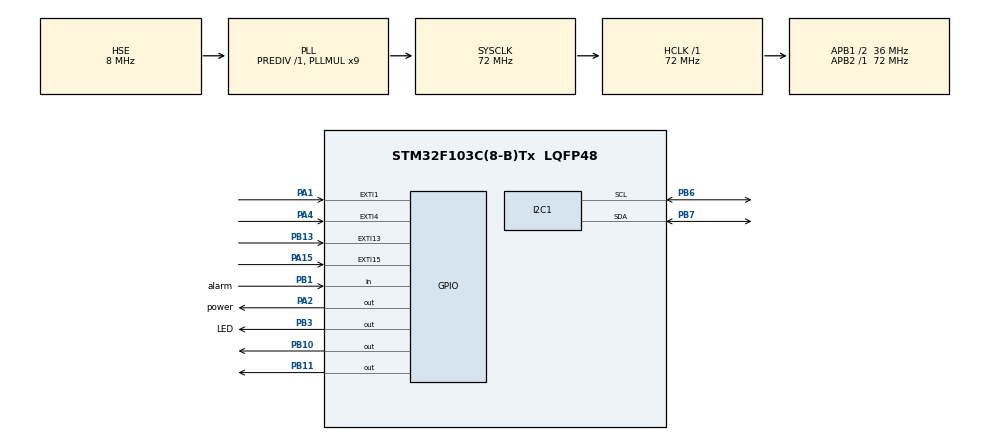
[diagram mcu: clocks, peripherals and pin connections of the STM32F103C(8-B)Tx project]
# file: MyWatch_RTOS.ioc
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FREERTOS.BinarySemaphores01=Key_State,Dynamic,NULL
FREERTOS.INCLUDE_uxTaskGetStackHighWaterMark=0
FREERTOS.Mutexes01=Time_Signal,Dynamic,NULL;Gyro_Signal,Dynamic,NULL;SW_Signal,Dynamic,NULL
FREERTOS.Tasks01=defaultTask,0,128,StartDefaultTask,Default,NULL,Dynamic,NULL,NULL;RTC_Task,1,64,Read_Time,As external,NULL,Dynamic,NULL,NULL;Root_Tas,-1,128,Display_Root,As external,NULL,Dynamic,NULL,NULL;Change_Task,-1,128,Display_ChangeTime,As external,NULL,Dynamic,NULL,NULL;Menu_Task,-1,128,Display_Menu,As external,NULL,Dynamic,NULL,NULL;Cartoon_Task,-1,128,Display_Cartoon,As external,NULL,Dynamic,NULL,NULL;Gyro_Task,0,128,Read_Gyro,As external,NULL,Dynamic,NULL,NULL;AlarmSet_Task_,-1,128,Alarm_Set,As external,NULL,Dynamic,NULL,NULL;AlarmGo_Task,-1,64,Alarm_Go,As external,NULL,Dynamic,NULL,NULL;Timing_Task,-1,128,Timing,As external,NULL,Dynamic,NULL,NULL;Game_Task,-1,128,Game,As external,NULL,Dynamic,NULL,NULL;KEY_Task,1,64,Key_Scan,As external,NULL,Dynamic,NULL,NULL
FREERTOS.configGENERATE_RUN_TIME_STATS=0
FREERTOS.configIDLE_SHOULD_YIELD=0
FREERTOS.configMAX_PRIORITIES=5
FREERTOS.configMAX_TASK_NAME_LEN=16
FREERTOS.configMINIMAL_STACK_SIZE=64
FREERTOS.configTOTAL_HEAP_SIZE=7168
FREERTOS.configUSE_APPLICATION_TASK_TAG=1
FREERTOS.configUSE_MUTEXES=1
FREERTOS.configUSE_TRACE_FACILITY=0
I2C1.I2C_Mode=I2C_Fast
Mcu.Family=STM32F1
Mcu.Name=STM32F103C(8-B)Tx
Mcu.Package=LQFP48
NVIC.EXTI15_10_IRQn=true\:5\:0\:true\:false\:true\:true\:true\:true\:true
NVIC.EXTI1_IRQn=true\:5\:0\:true\:false\:true\:true\:true\:true\:true
NVIC.EXTI4_IRQn=true\:5\:0\:true\:false\:true\:true\:true\:true\:true
NVIC.PriorityGroup=NVIC_PRIORITYGROUP_4
NVIC.TIM1_UP_IRQn=true\:15\:0\:false\:false\:true\:false\:false\:true\:true
NVIC.TIM3_IRQn=true\:5\:0\:false\:false\:true\:true\:true\:true\:true
NVIC.TIM4_IRQn=true\:5\:0\:false\:false\:true\:true\:true\:true\:true
NVIC.TimeBase=TIM1_UP_IRQn
NVIC.TimeBaseIP=TIM1
PA1.GPIO_ModeDefaultEXTI=GPIO_MODE_IT_FALLING
PA1.GPIO_PuPd=GPIO_PULLUP
PA1.Signal=GPXTI1
PA13.Mode=Serial_Wire
PA13.Signal=SYS_JTMS-SWDIO
PA14.Mode=Serial_Wire
PA14.Signal=SYS_JTCK-SWCLK
PA15.GPIO_ModeDefaultEXTI=GPIO_MODE_IT_FALLING
PA15.GPIO_PuPd=GPIO_PULLUP
PA15.Signal=GPXTI15
PA2.GPIO_Label=power
PA2.GPIO_PuPd=GPIO_NOPULL
PA2.PinState=GPIO_PIN_SET
PA2.Signal=GPIO_Output
PA4.GPIO_ModeDefaultEXTI=GPIO_MODE_IT_FALLING
PA4.GPIO_PuPd=GPIO_PULLUP
PA4.Signal=GPXTI4
PB1.GPIO_Label=alarm
PB1.GPIO_PuPd=GPIO_PULLUP
PB1.Signal=GPIO_Input
PB10.GPIO_Speed=GPIO_SPEED_FREQ_HIGH
PB10.Signal=GPIO_Output
PB11.GPIO_Speed=GPIO_SPEED_FREQ_HIGH
PB11.Signal=GPIO_Output
PB13.GPIO_ModeDefaultEXTI=GPIO_MODE_IT_FALLING
PB13.GPIO_PuPd=GPIO_PULLUP
PB13.Signal=GPXTI13
PB3.GPIO_Label=LED
PB3.Signal=GPIO_Output
PB6.Mode=I2C
PB6.Signal=I2C1_SCL
PB7.Mode=I2C
PB7.Signal=I2C1_SDA
PD0-OSC_IN.Mode=HSE-External-Oscillator
PD0-OSC_IN.Signal=RCC_OSC_IN
PD1-OSC_OUT.Mode=HSE-External-Oscillator
PD1-OSC_OUT.Signal=RCC_OSC_OUT
ProjectManager.HeapSize=0x200
ProjectManager.StackSize=0x400
ProjectManager.TargetToolchain=MDK-ARM V5.32
RCC.AHBFreq_Value=72000000
RCC.APB1CLKDivider=RCC_HCLK_DIV2
RCC.APB1Freq_Value=36000000
RCC.APB1TimFreq_Value=72000000
RCC.APB2Freq_Value=72000000
RCC.APB2TimFreq_Value=72000000
RCC.HCLKFreq_Value=72000000
RCC.PLLMUL=RCC_PLL_MUL9
RCC.PLLSourceVirtual=RCC_PLLSOURCE_HSE
RCC.SYSCLKFreq_VALUE=72000000
RCC.SYSCLKSource=RCC_SYSCLKSOURCE_PLLCLK
RCC.USBFreq_Value=72000000
TIM3.AutoReloadPreload=TIM_AUTORELOAD_PRELOAD_ENABLE
TIM3.Period=9999
TIM3.Prescaler=7199
TIM4.AutoReloadPreload=TIM_AUTORELOAD_PRELOAD_ENABLE
TIM4.Period=9999
TIM4.Prescaler=7199
VP_FREERTOS_VS_CMSIS_V1.Mode=CMSIS_V1
VP_SYS_VS_tim1.Mode=TIM1
VP_TIM3_VS_ClockSourceINT.Mode=Internal
VP_TIM4_VS_ClockSourceINT.Mode=Internal
board=custom

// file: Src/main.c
/* USER CODE BEGIN Header */
/**
  ******************************************************************************
  * @file           : main.c
  * @brief          : Main program body
  ******************************************************************************
  * @attention
  *
  * Copyright (c) 2023 STMicroelectronics.
  * All rights reserved.
  *
  * This software is licensed under terms that can be found in the LICENSE file
  * in the root directory of this software component.
  * If no LICENSE file comes with this software, it is provided AS-IS.
  *
  ******************************************************************************
  */
/* USER CODE END Header */
#include "main.h"
#include "cmsis_os.h"
#include "i2c.h"
#include "tim.h"
#include "gpio.h"

/* USER CODE BEGIN Includes */
#include "Task.h"
#include "oled.h"
#include "AllInclude.h"
/* USER CODE END Includes */

/* USER CODE BEGIN PTD */
extern uint8_t No_OperationTime;
extern _Bool OLED_Mode;
/* USER CODE END PTD */

void SystemClock_Config(void);
void MX_FREERTOS_Init(void);

int main(void)
{

  /* MCU Configuration--------------------------------------------------------*/

  /* Reset of all peripherals, Initializes the Flash interface and the Systick. */
  HAL_Init();

  /* Configure the system clock */
  SystemClock_Config();

  /* Initialize all configured peripherals */
  MX_GPIO_Init();
  MX_I2C1_Init();
  MX_TIM3_Init();
  MX_TIM4_Init();
  /* USER CODE BEGIN 2 */
	OLED_Init();
  /* USER CODE END 2 */

  /* Call init function for freertos objects (in freertos.c) */
  MX_FREERTOS_Init();

  /* Start scheduler */
  osKernelStart();
  /* We should never get here as control is now taken by the scheduler */
  /* Infinite loop */
  while (1)
  {

  }
}

void SystemClock_Config(void)
{
  RCC_OscInitTypeDef RCC_OscInitStruct = {0};
  RCC_ClkInitTypeDef RCC_ClkInitStruct = {0};

  /** Initializes the RCC Oscillators according to the specified parameters
  * in the RCC_OscInitTypeDef structure.
  */
  RCC_OscInitStruct.OscillatorType = RCC_OSCILLATORTYPE_HSE;
  RCC_OscInitStruct.HSEState = RCC_HSE_ON;
  RCC_OscInitStruct.HSEPredivValue = RCC_HSE_PREDIV_DIV1;
  RCC_OscInitStruct.HSIState = RCC_HSI_ON;
  RCC_OscInitStruct.PLL.PLLState = RCC_PLL_ON;
  RCC_OscInitStruct.PLL.PLLSource = RCC_PLLSOURCE_HSE;
  RCC_OscInitStruct.PLL.PLLMUL = RCC_PLL_MUL9;
  if (HAL_RCC_OscConfig(&RCC_OscInitStruct) != HAL_OK)
  {
    Error_Handler();
  }

  /** Initializes the CPU, AHB and APB buses clocks
  */
  RCC_ClkInitStruct.ClockType = RCC_CLOCKTYPE_HCLK|RCC_CLOCKTYPE_SYSCLK
                              |RCC_CLOCKTYPE_PCLK1|RCC_CLOCKTYPE_PCLK2;
  RCC_ClkInitStruct.SYSCLKSource = RCC_SYSCLKSOURCE_PLLCLK;
  RCC_ClkInitStruct.AHBCLKDivider = RCC_SYSCLK_DIV1;
  RCC_ClkInitStruct.APB1CLKDivider = RCC_HCLK_DIV2;
  RCC_ClkInitStruct.APB2CLKDivider = RCC_HCLK_DIV1;

  if (HAL_RCC_ClockConfig(&RCC_ClkInitStruct, FLASH_LATENCY_2) != HAL_OK)
  {
    Error_Handler();
  }
}

void HAL_TIM_PeriodElapsedCallback(TIM_HandleTypeDef *htim)
{
  /* USER CODE BEGIN Callback 0 */
	//tim3:�޲�����ʱ
	//tim4:��ʱ����
  /* USER CODE END Callback 0 */
  if (htim->Instance == TIM1) {
    HAL_IncTick();
  }
  /* USER CODE BEGIN Callback 1 */
	else if (htim == (&htim3))
	{
		No_OperationTime++;
		if (!OLED_Mode)
		{
			No_OperationTime = 200;
			OLED_Display_Off();
			HAL_TIM_Base_Stop_IT(&htim3);
		}
	}
	else if (htim == (&htim4))
	{
		Timing_Num[1]++;
		Timing_Num[0] += Timing_Num[1] / 60;
		Timing_Num[1] %= 60;
		Timing_Num[0] %= 100;
	}
  /* USER CODE END Callback 1 */
}

void Error_Handler(void)
{
  __disable_irq();
  while (1)
  {
  }
}

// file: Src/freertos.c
/* USER CODE BEGIN Header */
/**
  ******************************************************************************
  * File Name          : freertos.c
  * Description        : Code for freertos applications
  ******************************************************************************
  * @attention
  *
  * Copyright (c) 2023 STMicroelectronics.
  * All rights reserved.
  *
  * This software is licensed under terms that can be found in the LICENSE file
  * in the root directory of this software component.
  * If no LICENSE file comes with this software, it is provided AS-IS.
  *
  ******************************************************************************
  */
/* USER CODE END Header */

#include "FreeRTOS.h"
#include "task.h"
#include "main.h"
#include "cmsis_os.h"

osThreadId defaultTaskHandle;
osThreadId RTC_TaskHandle;
osThreadId Root_TasHandle;
osThreadId Change_TaskHandle;
osThreadId Menu_TaskHandle;
osThreadId Cartoon_TaskHandle;
osThreadId Gyro_TaskHandle;
osThreadId AlarmSet_Task_Handle;
osThreadId AlarmGo_TaskHandle;
osThreadId Timing_TaskHandle;
osThreadId Game_TaskHandle;
osThreadId KEY_TaskHandle;
osMutexId Time_SignalHandle;
osMutexId Gyro_SignalHandle;
osMutexId SW_SignalHandle;
osSemaphoreId Key_StateHandle;

/* USER CODE BEGIN FunctionPrototypes */
osThreadId *Custom_Features[] = {&Timing_TaskHandle,&Cartoon_TaskHandle,&AlarmSet_Task_Handle,&Game_TaskHandle};
/* USER CODE END FunctionPrototypes */

void StartDefaultTask(void const * argument);
extern void Read_Time(void const * argument);
extern void Display_Root(void const * argument);
extern void Display_ChangeTime(void const * argument);
extern void Display_Menu(void const * argument);
extern void Display_Cartoon(void const * argument);
extern void Read_Gyro(void const * argument);
extern void Alarm_Set(void const * argument);
extern void Alarm_Go(void const * argument);
extern void Timing(void const * argument);
extern void Game(void const * argument);
extern void Key_Scan(void const * argument);

void MX_FREERTOS_Init(void); /* (MISRA C 2004 rule 8.1) */

/* GetIdleTaskMemory prototype (linked to static allocation support) */
void vApplicationGetIdleTaskMemory( StaticTask_t **ppxIdleTaskTCBBuffer, StackType_t **ppxIdleTaskStackBuffer, uint32_t *pulIdleTaskStackSize );

/* USER CODE BEGIN GET_IDLE_TASK_MEMORY */
static StaticTask_t xIdleTaskTCBBuffer;
static StackType_t xIdleStack[configMINIMAL_STACK_SIZE];

void vApplicationGetIdleTaskMemory( StaticTask_t **ppxIdleTaskTCBBuffer, StackType_t **ppxIdleTaskStackBuffer, uint32_t *pulIdleTaskStackSize )
{
  *ppxIdleTaskTCBBuffer = &xIdleTaskTCBBuffer;
  *ppxIdleTaskStackBuffer = &xIdleStack[0];
  *pulIdleTaskStackSize = configMINIMAL_STACK_SIZE;
  /* place for user code */
}
/* USER CODE END GET_IDLE_TASK_MEMORY */

void MX_FREERTOS_Init(void) {
  /* Create the mutex(es) */
  /* definition and creation of Time_Signal */
  osMutexDef(Time_Signal);
  Time_SignalHandle = osMutexCreate(osMutex(Time_Signal));

  /* definition and creation of Gyro_Signal */
  osMutexDef(Gyro_Signal);
  Gyro_SignalHandle = osMutexCreate(osMutex(Gyro_Signal));

  /* definition and creation of SW_Signal */
  osMutexDef(SW_Signal);
  SW_SignalHandle = osMutexCreate(osMutex(SW_Signal));

  /* Create the semaphores(s) */
  /* definition and creation of Key_State */
  osSemaphoreDef(Key_State);
  Key_StateHandle = osSemaphoreCreate(osSemaphore(Key_State), 1);

  /* Create the thread(s) */
  /* definition and creation of defaultTask */
  osThreadDef(defaultTask, StartDefaultTask, osPriorityNormal, 0, 128);
  defaultTaskHandle = osThreadCreate(osThread(defaultTask), NULL);

  /* definition and creation of RTC_Task */
  osThreadDef(RTC_Task, Read_Time, osPriorityAboveNormal, 0, 64);
  RTC_TaskHandle = osThreadCreate(osThread(RTC_Task), NULL);

  /* definition and creation of Root_Tas */
  osThreadDef(Root_Tas, Display_Root, osPriorityBelowNormal, 0, 128);
  Root_TasHandle = osThreadCreate(osThread(Root_Tas), NULL);

  /* definition and creation of Change_Task */
  osThreadDef(Change_Task, Display_ChangeTime, osPriorityBelowNormal, 0, 128);
  Change_TaskHandle = osThreadCreate(osThread(Change_Task), NULL);

  /* definition and creation of Menu_Task */
  osThreadDef(Menu_Task, Display_Menu, osPriorityBelowNormal, 0, 128);
  Menu_TaskHandle = osThreadCreate(osThread(Menu_Task), NULL);

  /* definition and creation of Cartoon_Task */
  osThreadDef(Cartoon_Task, Display_Cartoon, osPriorityBelowNormal, 0, 128);
  Cartoon_TaskHandle = osThreadCreate(osThread(Cartoon_Task), NULL);

  /* definition and creation of Gyro_Task */
  osThreadDef(Gyro_Task, Read_Gyro, osPriorityNormal, 0, 128);
  Gyro_TaskHandle = osThreadCreate(osThread(Gyro_Task), NULL);

  /* definition and creation of AlarmSet_Task_ */
  osThreadDef(AlarmSet_Task_, Alarm_Set, osPriorityBelowNormal, 0, 128);
  AlarmSet_Task_Handle = osThreadCreate(osThread(AlarmSet_Task_), NULL);

  /* definition and creation of AlarmGo_Task */
  osThreadDef(AlarmGo_Task, Alarm_Go, osPriorityBelowNormal, 0, 64);
  AlarmGo_TaskHandle = osThreadCreate(osThread(AlarmGo_Task), NULL);

  /* definition and creation of Timing_Task */
  osThreadDef(Timing_Task, Timing, osPriorityBelowNormal, 0, 128);
  Timing_TaskHandle = osThreadCreate(osThread(Timing_Task), NULL);

  /* definition and creation of Game_Task */
  osThreadDef(Game_Task, Game, osPriorityBelowNormal, 0, 128);
  Game_TaskHandle = osThreadCreate(osThread(Game_Task), NULL);

  /* definition and creation of KEY_Task */
  osThreadDef(KEY_Task, Key_Scan, osPriorityAboveNormal, 0, 64);
  KEY_TaskHandle = osThreadCreate(osThread(KEY_Task), NULL);

}

void StartDefaultTask(void const * argument)
{
  for(;;)
  {
    osDelay(1);
  }
}

/* USER CODE BEGIN Application */
//void LED_Lighting(void const * argument)
//{
//	static uint8_t flash_flag = 0;
//	while(1)
//	{
//		flash_flag++;
//		HAL_GPIO_TogglePin(GPIOB,LED_Pin);
//		osDelay(500);
//		if (flash_flag > 10)
//		{
//			flash_flag = 0;
//			vTaskSuspend(LED_TaskHandle);
//		}
//	}
//}
/* USER CODE END Application */
